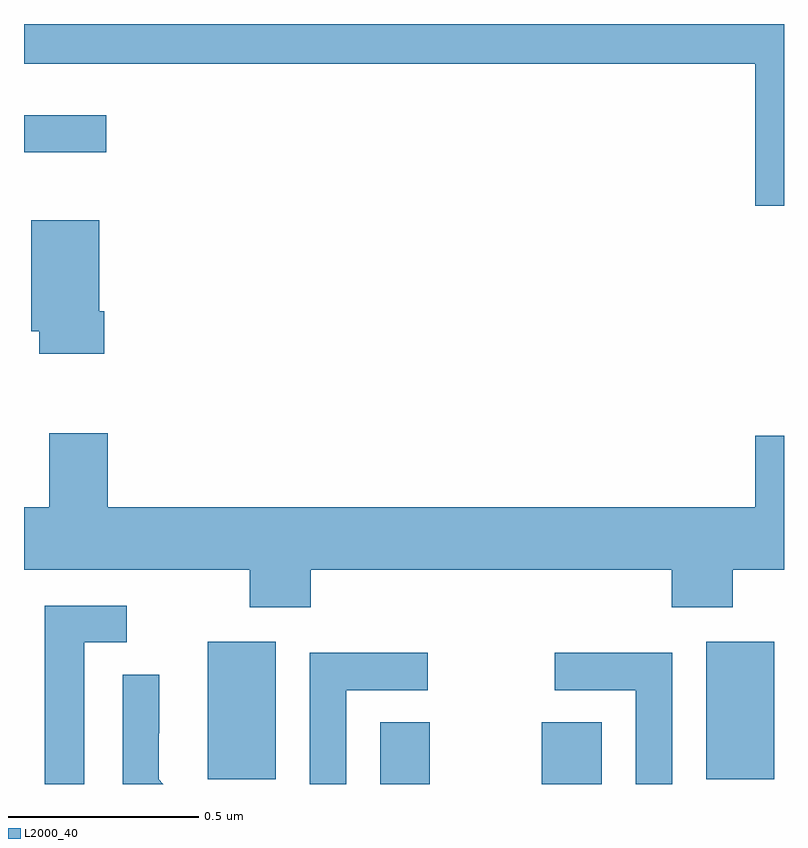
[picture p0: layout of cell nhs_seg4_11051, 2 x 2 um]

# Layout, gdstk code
import gdstk
lib = gdstk.Library(unit=1e-6, precision=1e-09)
def R(c, l, rs):  # rectangles x0, y0, x1, y1
    for r in rs: c.add(gdstk.rectangle(r[:2], r[2:], *l))
def P(c, l, *ps):  # polygons
    for p in ps: c.add(gdstk.Polygon(p, *l))
L2000_40 = (2000, 40)

nhs_seg4_11051 = lib.new_cell('nhs_seg4_11051')
R(nhs_seg4_11051, L2000_40, [(247.937,818.9,248.068,819.062), (248.363,818.9,248.521,819.062), (247.484,818.913,247.663,819.274), (248.795,818.913,248.974,819.274), (247,820.563,247.216,820.66)])
P(nhs_seg4_11051, L2000_40, [(249,820.9),(247,820.9),(247,820.796),(248.924,820.796),(248.924,820.422),(249,820.422)],
  [(247.211,820.144),(247.198,820.144),(247.198,820.384),(247.019,820.384),(247.019,820.092),(247.04,820.092),(247.04,820.032),(247.211,820.032)],
  [(247.754,819.464),(248.705,819.464),(248.705,819.365),(248.865,819.365),(248.865,819.464),(249,819.464),(249,819.817),(248.924,819.817),(248.924,819.628),(247.22,819.628),(247.22,819.823),(247.067,819.823),(247.067,819.628),(247,819.628),(247,819.464),(247.594,819.464),(247.594,819.365),(247.754,819.365)],
  [(247.159,819.273),(247.27,819.273),(247.27,819.369),(247.055,819.369),(247.055,818.9),(247.159,818.9)],
  [(247.848,819.147),(248.062,819.147),(248.062,819.246),(247.752,819.246),(247.752,818.9),(247.848,818.9)],
  [(248.706,819.246),(248.397,819.246),(248.397,819.147),(248.61,819.147),(248.61,818.9),(248.706,818.9)],
  [(247.355,818.912),(247.355,819.034),(247.356,819.034),(247.356,819.188),(247.26,819.188),(247.26,818.9),(247.367,818.9)])

lib.write_gds('nhs_seg4_11051.gds')
